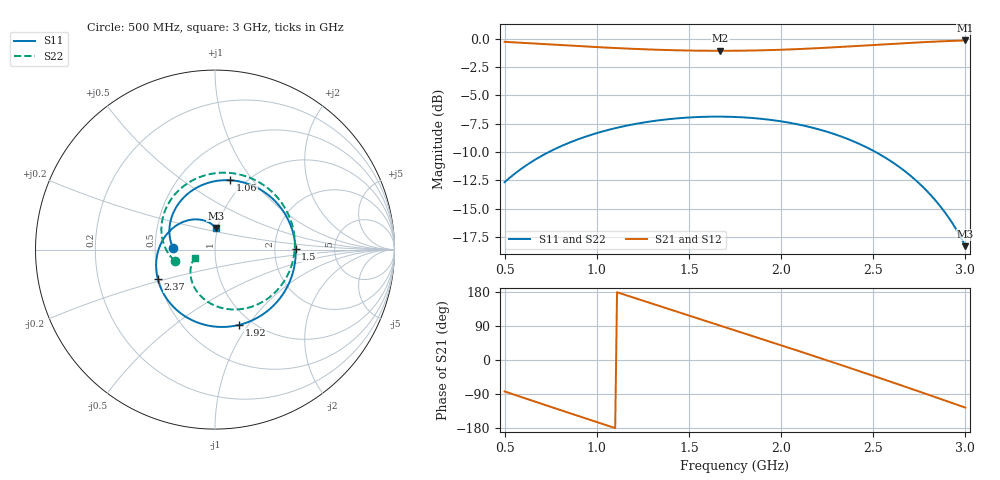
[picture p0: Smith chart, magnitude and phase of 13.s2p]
!freq-unit  param-type  data-format  keyword  impedance-ohms
# GHZ  S  RI  R  50
!Freq  ReS11  ImS11  ReS21  ImS21  ReS12  ImS12  ReS22  ImS22
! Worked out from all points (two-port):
!   251 points, 500 MHz to 3 GHz, reference 50 ohm
!   highest |S21| = -0.15 dB at 3 GHz (marker M1); lowest = -1.1 dB at 1.67 GHz (marker M2)
!   |S21| within 3 dB of the highest: start of sweep to end of sweep
!   lowest |S11| = -18.3 dB at 3 GHz (marker M3), VSWR 1.28, Z = 48.9 + j12 ohm
!   |S11| at or under -10 dB: start of sweep to 740.9 MHz; 2.512 GHz to end of sweep
!   |S22| runs from -18.3 to -6.9 dB; largest |S21 - S12| = 0
!   S11 on the Smith chart (normalised r, x): 500 MHz: 0.62, +0.01; 1.06 GHz: 0.85, +0.78; 1.5 GHz: 2.63, +0.04; 1.92 GHz: 0.87, -0.90; 2.37 GHz: 0.49, -0.19; 3 GHz: 0.98, +0.24
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0.5  -0.2324 0.0067  0.119 -0.9623  0.119 -0.9623  -0.2241 -0.0624
0.6  -0.2539 0.0913  -0.1552 -0.947  -0.1552 -0.947  -0.27 -0.00469
0.7  -0.2397 0.1862  -0.4096 -0.8562  -0.4096 -0.8562  -0.2954 0.0706
0.81  -0.1802 0.284  -0.6434 -0.6821  -0.6434 -0.6821  -0.2939 0.1642
0.92  -0.0805 0.3559  -0.8103 -0.4495  -0.8103 -0.4495  -0.259 0.2575
1.06  0.0829 0.3864  -0.9075 -0.1066  -0.9075 -0.1066  -0.1698 0.3574
1.2  0.251 0.3356  -0.8699 0.2408  -0.8699 0.2408  -0.0422 0.4174
1.34  0.3831 0.2094  -0.7089 0.5445  -0.7089 0.5445  0.1041 0.4246
1.5  0.449 0.00595  -0.4079 0.788  -0.4079 0.788  0.2646 0.3635
1.67  0.3969 -0.2183  -0.0115 0.8848  -0.0115 0.8848  0.3916 0.2289
1.75  0.3316 -0.3064  0.1809 0.8668  0.1809 0.8668  0.4269 0.1485
1.92  0.1329 -0.42  0.5544 0.6968  0.5544 0.6968  0.4398 -0.0347
2.05  -0.0395 -0.4231  0.77 0.4614  0.77 0.4614  0.3927 -0.1642
2.17  -0.1817 -0.3617  0.8874 0.1856  0.8874 0.1856  0.3126 -0.2582
2.27  -0.2696 -0.273  0.9129 -0.0678  0.9129 -0.0678  0.2278 -0.3096
2.37  -0.3189 -0.1639  0.867 -0.3231  0.867 -0.3231  0.1356 -0.3327
2.48  -0.3241 -0.0396  0.7339 -0.5821  0.7339 -0.5821  0.0371 -0.325
2.59  -0.2818 0.0678  0.5224 -0.7916  0.5224 -0.7916  -0.0465 -0.2868
2.7  -0.2059 0.1403  0.2498 -0.9265  0.2498 -0.9265  -0.1056 -0.2263
2.8  -0.1248 0.1676  -0.029 -0.9685  -0.029 -0.9685  -0.133 -0.1618
2.9  -0.0499 0.1585  -0.3124 -0.9256  -0.3124 -0.9256  -0.1345 -0.0983
3  0.00398 0.1212  -0.5735 -0.7987  -0.5735 -0.7987  -0.1128 -0.0452
